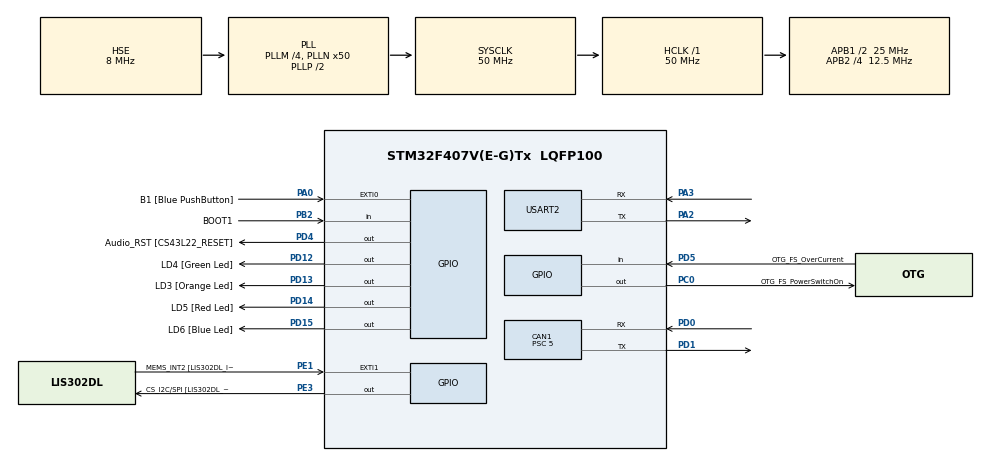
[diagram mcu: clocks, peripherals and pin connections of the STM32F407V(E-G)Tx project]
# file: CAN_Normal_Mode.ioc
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CAN1.BS1=CAN_BS1_8TQ
CAN1.CalculateBaudRate=500000
CAN1.CalculateTimeBit=2000
CAN1.CalculateTimeQuantum=200.0
CAN1.Mode=CAN_MODE_NORMAL
CAN1.Prescaler=5
Mcu.Family=STM32F4
Mcu.Name=STM32F407V(E-G)Tx
Mcu.Package=LQFP100
NVIC.CAN1_RX0_IRQn=true\:0\:0\:false\:false\:true\:true\:true\:true
NVIC.CAN1_RX1_IRQn=true\:0\:0\:false\:false\:true\:true\:true\:true
NVIC.CAN1_SCE_IRQn=true\:0\:0\:false\:false\:true\:true\:true\:true
NVIC.CAN1_TX_IRQn=true\:0\:0\:false\:false\:true\:true\:true\:true
NVIC.EXTI0_IRQn=true\:0\:0\:false\:false\:true\:true\:true\:true
NVIC.PriorityGroup=NVIC_PRIORITYGROUP_0
NVIC.TIM6_DAC_IRQn=true\:0\:0\:false\:false\:true\:true\:true\:true
PA0-WKUP.GPIO_Label=B1 [Blue PushButton]
PA0-WKUP.Signal=GPXTI0
PA10.GPIO_Label=OTG_FS_ID
PA10.GPIO_Mode=GPIO_MODE_AF_PP
PA10.GPIO_PuPd=GPIO_NOPULL
PA10.GPIO_Speed=GPIO_SPEED_FREQ_LOW
PA10.Signal=USB_OTG_FS_ID
PA11.GPIO_Label=OTG_FS_DM
PA11.GPIO_Mode=GPIO_MODE_AF_PP
PA11.GPIO_PuPd=GPIO_NOPULL
PA11.GPIO_Speed=GPIO_SPEED_FREQ_LOW
PA11.Signal=USB_OTG_FS_DM
PA12.GPIO_Label=OTG_FS_DP
PA12.GPIO_Mode=GPIO_MODE_AF_PP
PA12.GPIO_PuPd=GPIO_NOPULL
PA12.GPIO_Speed=GPIO_SPEED_FREQ_LOW
PA12.Signal=USB_OTG_FS_DP
PA13.GPIO_Label=SWDIO
PA13.Signal=SYS_JTMS-SWDIO
PA14.GPIO_Label=SWCLK
PA14.Signal=SYS_JTCK-SWCLK
PA2.Mode=Asynchronous
PA2.Signal=USART2_TX
PA3.Mode=Asynchronous
PA3.Signal=USART2_RX
PA4.GPIO_Label=I2S3_WS [CS43L22_LRCK]
PA4.GPIO_Mode=GPIO_MODE_AF_PP
PA4.GPIO_PuPd=GPIO_NOPULL
PA4.GPIO_Speed=GPIO_SPEED_FREQ_LOW
PA4.Signal=I2S3_WS
PA5.GPIO_Label=SPI1_SCK [LIS302DL_SCL/SPC]
PA5.GPIO_Mode=GPIO_MODE_AF_PP
PA5.GPIO_PuPd=GPIO_NOPULL
PA5.GPIO_Speed=GPIO_SPEED_FREQ_LOW
PA5.Signal=SPI1_SCK
PA6.GPIO_Label=SPI1_MISO [LIS302DL_SDO]
PA6.GPIO_Mode=GPIO_MODE_AF_PP
PA6.GPIO_PuPd=GPIO_NOPULL
PA6.GPIO_Speed=GPIO_SPEED_FREQ_LOW
PA6.Signal=SPI1_MISO
PA7.GPIO_Label=SPI1_MOSI [LIS302DL_SDA/SDI/SDO]
PA7.GPIO_Mode=GPIO_MODE_AF_PP
PA7.GPIO_PuPd=GPIO_NOPULL
PA7.GPIO_Speed=GPIO_SPEED_FREQ_LOW
PA7.Signal=SPI1_MOSI
PA9.GPIO_Label=VBUS_FS
PA9.GPIO_Mode=GPIO_MODE_INPUT
PA9.GPIO_PuPd=GPIO_NOPULL
PA9.Signal=USB_OTG_FS_VBUS
PB10.GPIO_Label=CLK_IN [MP45DT02_CLK]
PB10.GPIO_Mode=GPIO_MODE_AF_PP
PB10.GPIO_PuPd=GPIO_NOPULL
PB10.GPIO_Speed=GPIO_SPEED_FREQ_LOW
PB10.Signal=I2S2_CK
PB2.GPIO_Label=BOOT1
PB2.GPIO_Mode=GPIO_MODE_INPUT
PB2.GPIO_PuPd=GPIO_NOPULL
PB2.Signal=GPIO_Input
PB3.GPIO_Label=SWO
PB3.Signal=SYS_JTDO-SWO
PB6.GPIO_Label=Audio_SCL [CS43L22_SCL]
PB6.GPIO_Mode=GPIO_MODE_AF_OD
PB6.GPIO_PuPd=GPIO_NOPULL
PB6.GPIO_Speed=GPIO_SPEED_FREQ_LOW
PB6.Signal=I2C1_SCL
PB9.GPIO_Label=Audio_SDA [CS43L22_SDA]
PB9.GPIO_Mode=GPIO_MODE_AF_OD
PB9.GPIO_PuPd=GPIO_NOPULL
PB9.GPIO_Speed=GPIO_SPEED_FREQ_LOW
PB9.Signal=I2C1_SDA
PC0.GPIO_Label=OTG_FS_PowerSwitchOn
PC0.GPIO_PuPd=GPIO_NOPULL
PC0.GPIO_Speed=GPIO_SPEED_FREQ_LOW
PC0.PinState=GPIO_PIN_SET
PC0.Signal=GPIO_Output
PC10.GPIO_Label=I2S3_SCK [CS43L22_SCLK]
PC10.GPIO_Mode=GPIO_MODE_AF_PP
PC10.GPIO_PuPd=GPIO_NOPULL
PC10.GPIO_Speed=GPIO_SPEED_FREQ_LOW
PC10.Signal=I2S3_CK
PC12.GPIO_Label=I2S3_SD [CS43L22_SDIN]
PC12.GPIO_Mode=GPIO_MODE_AF_PP
PC12.GPIO_PuPd=GPIO_NOPULL
PC12.GPIO_Speed=GPIO_SPEED_FREQ_LOW
PC12.Signal=I2S3_SD
PC14-OSC32_IN.GPIO_Label=PC14-OSC32_IN
PC14-OSC32_IN.Signal=RCC_OSC32_IN
PC15-OSC32_OUT.GPIO_Label=PC15-OSC32_OUT
PC15-OSC32_OUT.Signal=RCC_OSC32_OUT
PC3.GPIO_Label=PDM_OUT [MP45DT02_DOUT]
PC3.GPIO_Mode=GPIO_MODE_AF_PP
PC3.GPIO_PuPd=GPIO_NOPULL
PC3.GPIO_Speed=GPIO_SPEED_FREQ_LOW
PC3.Signal=I2S2_SD
PC7.GPIO_Label=I2S3_MCK [CS43L22_MCLK]
PC7.GPIO_Mode=GPIO_MODE_AF_PP
PC7.GPIO_PuPd=GPIO_NOPULL
PC7.GPIO_Speed=GPIO_SPEED_FREQ_LOW
PC7.Signal=I2S3_MCK
PD0.Mode=CAN_Activate
PD0.Signal=CAN1_RX
PD1.Mode=CAN_Activate
PD1.Signal=CAN1_TX
PD12.GPIO_Label=LD4 [Green Led]
PD12.GPIO_PuPd=GPIO_NOPULL
PD12.GPIO_Speed=GPIO_SPEED_FREQ_LOW
PD12.Signal=GPIO_Output
PD13.GPIO_Label=LD3 [Orange Led]
PD13.GPIO_PuPd=GPIO_NOPULL
PD13.GPIO_Speed=GPIO_SPEED_FREQ_LOW
PD13.Signal=GPIO_Output
PD14.GPIO_Label=LD5 [Red Led]
PD14.GPIO_PuPd=GPIO_NOPULL
PD14.GPIO_Speed=GPIO_SPEED_FREQ_LOW
PD14.Signal=GPIO_Output
PD15.GPIO_Label=LD6 [Blue Led]
PD15.GPIO_PuPd=GPIO_NOPULL
PD15.GPIO_Speed=GPIO_SPEED_FREQ_LOW
PD15.Signal=GPIO_Output
PD4.GPIO_Label=Audio_RST [CS43L22_RESET]
PD4.GPIO_PuPd=GPIO_NOPULL
PD4.GPIO_Speed=GPIO_SPEED_FREQ_LOW
PD4.Signal=GPIO_Output
PD5.GPIO_Label=OTG_FS_OverCurrent
PD5.GPIO_Mode=GPIO_MODE_INPUT
PD5.GPIO_PuPd=GPIO_NOPULL
PD5.Signal=GPIO_Input
PE1.GPIO_Label=MEMS_INT2 [LIS302DL_INT2]
PE1.GPIO_ModeDefaultEXTI=GPIO_MODE_EVT_RISING
PE1.GPIO_PuPd=GPIO_NOPULL
PE1.Signal=GPXTI1
PE3.GPIO_Label=CS_I2C/SPI [LIS302DL_CS_I2C/SPI]
PE3.GPIO_PuPd=GPIO_NOPULL
PE3.GPIO_Speed=GPIO_SPEED_FREQ_LOW
PE3.Signal=GPIO_Output
PH0-OSC_IN.GPIO_Label=PH0-OSC_IN
PH0-OSC_IN.Mode=HSE-External-Oscillator
PH0-OSC_IN.Signal=RCC_OSC_IN
PH1-OSC_OUT.GPIO_Label=PH1-OSC_OUT
PH1-OSC_OUT.Mode=HSE-External-Oscillator
PH1-OSC_OUT.Signal=RCC_OSC_OUT
ProjectManager.HeapSize=0x200
ProjectManager.StackSize=0x400
ProjectManager.TargetToolchain=STM32CubeIDE
RCC.48MHZClocksFreq_Value=14285714.285714285
RCC.AHBFreq_Value=50000000
RCC.APB1CLKDivider=RCC_HCLK_DIV2
RCC.APB1Freq_Value=25000000
RCC.APB1TimFreq_Value=50000000
RCC.APB2CLKDivider=RCC_HCLK_DIV4
RCC.APB2Freq_Value=12500000
RCC.APB2TimFreq_Value=25000000
RCC.CortexFreq_Value=50000000
RCC.HCLKFreq_Value=50000000
RCC.HSE_VALUE=8000000
RCC.HSI_VALUE=16000000
RCC.LSE_VALUE=32768
RCC.PLLM=4
RCC.PLLN=50
RCC.PLLQ=7
RCC.PLLSourceVirtual=RCC_PLLSOURCE_HSE
RCC.SYSCLKFreq_VALUE=50000000
RCC.SYSCLKSource=RCC_SYSCLKSOURCE_PLLCLK
RCC.VCOOutputFreq_Value=100000000
TIM6.Period=62499
TIM6.Prescaler=799
USART2.VirtualMode=VM_ASYNC
VP_TIM6_VS_ClockSourceINT.Mode=Enable_Timer
board=STM32F407G-DISC1

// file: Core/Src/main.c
/* USER CODE BEGIN Header */
/**
 ******************************************************************************
 * @file           : main.c
 * @brief          : Main program body
 ******************************************************************************
 * @attention
 *
 * Copyright (c) 2024 STMicroelectronics.
 * All rights reserved.
 *
 * This software is licensed under terms that can be found in the LICENSE file
 * in the root directory of this software component.
 * If no LICENSE file comes with this software, it is provided AS-IS.
 *
 ******************************************************************************
 */
/* USER CODE END Header */
#include "main.h"

/* USER CODE BEGIN Includes */
#include <string.h>
#include <stdio.h>
/* USER CODE END Includes */

CAN_HandleTypeDef hcan1;

TIM_HandleTypeDef htim6;

UART_HandleTypeDef huart2;

void SystemClock_Config(void);
static void MX_GPIO_Init(void);
static void MX_CAN1_Init(void);
static void MX_TIM6_Init(void);
static void MX_USART2_UART_Init(void);
/* USER CODE BEGIN PFP */
void CAN1_Tx(void);
void CAN_Filter_Config(void);
void LED_Manage_Output(uint8_t led_no);

// Transmit Callback when transmit message is completed.
void HAL_CAN_TxMailbox0CompleteCallback(CAN_HandleTypeDef *hcan);
void HAL_CAN_TxMailbox1CompleteCallback(CAN_HandleTypeDef *hcan);
void HAL_CAN_TxMailbox2CompleteCallback(CAN_HandleTypeDef *hcan);
void HAL_CAN_RxFifo0MsgPendingCallback(CAN_HandleTypeDef *hcan);
void HAL_CAN_ErrorCallback(CAN_HandleTypeDef *hcan);

/* USER CODE END PFP */

/* USER CODE BEGIN 0 */
volatile uint8_t rx_complete_flag = 0;
uint8_t rcvd_msg[5];
CAN_RxHeaderTypeDef RxHeader;

/* USER CODE END 0 */

int main(void) {
	/* USER CODE BEGIN 1 */
	// 0. On Nucleo or Discovery board, pressing the user button will start timer 6.
	// (For the actual application, we will only press user button on Nucleo board).
	// 1. Timer 6 will trigger interrupt at every 1s.
	// 2. In this interrupt, Nucleo will send a message which contains the LED number
	// to Discovery.
	// 3. Upon receiving a message, Discovery will turn LED on based on the number.
	// E.g. number 1 for Orange, 2 for Green, etc.
	// 4. Nucleo also sends a remote frame to request 2 bytes of data for every 4 seconds.
	// 5. Disc upon receiving this remote frame, should send back 2 bytes of data using data frame.
	/* USER CODE END 1 */

	/* MCU Configuration--------------------------------------------------------*/

	/* Reset of all peripherals, Initializes the Flash interface and the Systick. */
	HAL_Init();

	/* Configure the system clock */
	SystemClock_Config();

	/* Initialize all configured peripherals */
	MX_GPIO_Init();
	MX_CAN1_Init();
	MX_TIM6_Init();
	MX_USART2_UART_Init();
	/* USER CODE BEGIN 2 */

	/**
	 * CAN Module:
	 */
	CAN_Filter_Config();
	// 1. Enable Interrupt.
	// This will enable the interrupt bit in the following registers: TMEIE, FMPIE0, BOFIE.
	if (HAL_CAN_ActivateNotification(&hcan1,
	CAN_IT_TX_MAILBOX_EMPTY | CAN_IT_RX_FIFO0_MSG_PENDING | CAN_IT_BUSOFF)
			!= HAL_OK) {
		Error_Handler();
	};

	// 2. Start the CAN module.
	if (HAL_CAN_Start(&hcan1) != HAL_OK) {
		Error_Handler();
	}

	char *uart_msg = "Discovery board starts\r\n";
	HAL_UART_Transmit(&huart2, (uint8_t*) uart_msg, strlen(uart_msg),
	HAL_MAX_DELAY);
	/* USER CODE END 2 */

	/* Infinite loop */
	/* USER CODE BEGIN WHILE */
	while (1) {
		if (rx_complete_flag == 1) {
			rx_complete_flag = 0;
			if (RxHeader.StdId == 0x65D && RxHeader.RTR == 0) {
				// Turn LED based on the message received:
				LED_Manage_Output(rcvd_msg[0]);
			}
		}
		/* USER CODE END WHILE */

	}
}

void SystemClock_Config(void) {
	RCC_OscInitTypeDef RCC_OscInitStruct = { 0 };
	RCC_ClkInitTypeDef RCC_ClkInitStruct = { 0 };

	/** Configure the main internal regulator output voltage
	 */
	__HAL_RCC_PWR_CLK_ENABLE();
	__HAL_PWR_VOLTAGESCALING_CONFIG(PWR_REGULATOR_VOLTAGE_SCALE1);

	/** Initializes the RCC Oscillators according to the specified parameters
	 * in the RCC_OscInitTypeDef structure.
	 */
	RCC_OscInitStruct.OscillatorType = RCC_OSCILLATORTYPE_HSE;
	RCC_OscInitStruct.HSEState = RCC_HSE_ON;
	RCC_OscInitStruct.PLL.PLLState = RCC_PLL_ON;
	RCC_OscInitStruct.PLL.PLLSource = RCC_PLLSOURCE_HSE;
	RCC_OscInitStruct.PLL.PLLM = 4;
	RCC_OscInitStruct.PLL.PLLN = 50;
	RCC_OscInitStruct.PLL.PLLP = RCC_PLLP_DIV2;
	RCC_OscInitStruct.PLL.PLLQ = 7;
	if (HAL_RCC_OscConfig(&RCC_OscInitStruct) != HAL_OK) {
		Error_Handler();
	}

	/** Initializes the CPU, AHB and APB buses clocks
	 */
	RCC_ClkInitStruct.ClockType = RCC_CLOCKTYPE_HCLK | RCC_CLOCKTYPE_SYSCLK
			| RCC_CLOCKTYPE_PCLK1 | RCC_CLOCKTYPE_PCLK2;
	RCC_ClkInitStruct.SYSCLKSource = RCC_SYSCLKSOURCE_PLLCLK;
	RCC_ClkInitStruct.AHBCLKDivider = RCC_SYSCLK_DIV1;
	RCC_ClkInitStruct.APB1CLKDivider = RCC_HCLK_DIV2;
	RCC_ClkInitStruct.APB2CLKDivider = RCC_HCLK_DIV4;

	if (HAL_RCC_ClockConfig(&RCC_ClkInitStruct, FLASH_LATENCY_1) != HAL_OK) {
		Error_Handler();
	}
}

static void MX_CAN1_Init(void) {

	hcan1.Instance = CAN1;
	hcan1.Init.Prescaler = 5;
	hcan1.Init.Mode = CAN_MODE_NORMAL;
	hcan1.Init.SyncJumpWidth = CAN_SJW_1TQ;
	hcan1.Init.TimeSeg1 = CAN_BS1_8TQ;
	hcan1.Init.TimeSeg2 = CAN_BS2_1TQ;
	hcan1.Init.TimeTriggeredMode = DISABLE;
	hcan1.Init.AutoBusOff = DISABLE;
	hcan1.Init.AutoWakeUp = DISABLE;
	hcan1.Init.AutoRetransmission = DISABLE;
	hcan1.Init.ReceiveFifoLocked = DISABLE;
	hcan1.Init.TransmitFifoPriority = DISABLE;
	if (HAL_CAN_Init(&hcan1) != HAL_OK) {
		Error_Handler();
	}

}

static void MX_TIM6_Init(void) {

	TIM_MasterConfigTypeDef sMasterConfig = { 0 };

	htim6.Instance = TIM6;
	htim6.Init.Prescaler = 799;
	htim6.Init.CounterMode = TIM_COUNTERMODE_UP;
	htim6.Init.Period = 62499;
	htim6.Init.AutoReloadPreload = TIM_AUTORELOAD_PRELOAD_DISABLE;
	if (HAL_TIM_Base_Init(&htim6) != HAL_OK) {
		Error_Handler();
	}
	sMasterConfig.MasterOutputTrigger = TIM_TRGO_RESET;
	sMasterConfig.MasterSlaveMode = TIM_MASTERSLAVEMODE_DISABLE;
	if (HAL_TIMEx_MasterConfigSynchronization(&htim6, &sMasterConfig)
			!= HAL_OK) {
		Error_Handler();
	}

}

static void MX_USART2_UART_Init(void) {

	huart2.Instance = USART2;
	huart2.Init.BaudRate = 115200;
	huart2.Init.WordLength = UART_WORDLENGTH_8B;
	huart2.Init.StopBits = UART_STOPBITS_1;
	huart2.Init.Parity = UART_PARITY_NONE;
	huart2.Init.Mode = UART_MODE_TX_RX;
	huart2.Init.HwFlowCtl = UART_HWCONTROL_NONE;
	huart2.Init.OverSampling = UART_OVERSAMPLING_16;
	if (HAL_UART_Init(&huart2) != HAL_OK) {
		Error_Handler();
	}

}

static void MX_GPIO_Init(void) {
	GPIO_InitTypeDef GPIO_InitStruct = { 0 };

	/* GPIO Ports Clock Enable */
	__HAL_RCC_GPIOE_CLK_ENABLE();
	__HAL_RCC_GPIOC_CLK_ENABLE();
	__HAL_RCC_GPIOH_CLK_ENABLE();
	__HAL_RCC_GPIOA_CLK_ENABLE();
	__HAL_RCC_GPIOB_CLK_ENABLE();
	__HAL_RCC_GPIOD_CLK_ENABLE();

	/*Configure GPIO pin Output Level */
	HAL_GPIO_WritePin(CS_I2C_SPI_GPIO_Port, CS_I2C_SPI_Pin, GPIO_PIN_RESET);

	/*Configure GPIO pin Output Level */
	HAL_GPIO_WritePin(OTG_FS_PowerSwitchOn_GPIO_Port, OTG_FS_PowerSwitchOn_Pin,
			GPIO_PIN_SET);

	/*Configure GPIO pin Output Level */
	HAL_GPIO_WritePin(GPIOD,
			LD4_Pin | LD3_Pin | LD5_Pin | LD6_Pin | Audio_RST_Pin,
			GPIO_PIN_RESET);

	/*Configure GPIO pin : CS_I2C_SPI_Pin */
	GPIO_InitStruct.Pin = CS_I2C_SPI_Pin;
	GPIO_InitStruct.Mode = GPIO_MODE_OUTPUT_PP;
	GPIO_InitStruct.Pull = GPIO_NOPULL;
	GPIO_InitStruct.Speed = GPIO_SPEED_FREQ_LOW;
	HAL_GPIO_Init(CS_I2C_SPI_GPIO_Port, &GPIO_InitStruct);

	/*Configure GPIO pin : OTG_FS_PowerSwitchOn_Pin */
	GPIO_InitStruct.Pin = OTG_FS_PowerSwitchOn_Pin;
	GPIO_InitStruct.Mode = GPIO_MODE_OUTPUT_PP;
	GPIO_InitStruct.Pull = GPIO_NOPULL;
	GPIO_InitStruct.Speed = GPIO_SPEED_FREQ_LOW;
	HAL_GPIO_Init(OTG_FS_PowerSwitchOn_GPIO_Port, &GPIO_InitStruct);

	/*Configure GPIO pin : PDM_OUT_Pin */
	GPIO_InitStruct.Pin = PDM_OUT_Pin;
	GPIO_InitStruct.Mode = GPIO_MODE_AF_PP;
	GPIO_InitStruct.Pull = GPIO_NOPULL;
	GPIO_InitStruct.Speed = GPIO_SPEED_FREQ_LOW;
	GPIO_InitStruct.Alternate = GPIO_AF5_SPI2;
	HAL_GPIO_Init(PDM_OUT_GPIO_Port, &GPIO_InitStruct);

	/*Configure GPIO pin : B1_Pin */
	GPIO_InitStruct.Pin = B1_Pin;
	GPIO_InitStruct.Mode = GPIO_MODE_IT_RISING;
	GPIO_InitStruct.Pull = GPIO_NOPULL;
	HAL_GPIO_Init(B1_GPIO_Port, &GPIO_InitStruct);

	/*Configure GPIO pin : I2S3_WS_Pin */
	GPIO_InitStruct.Pin = I2S3_WS_Pin;
	GPIO_InitStruct.Mode = GPIO_MODE_AF_PP;
	GPIO_InitStruct.Pull = GPIO_NOPULL;
	GPIO_InitStruct.Speed = GPIO_SPEED_FREQ_LOW;
	GPIO_InitStruct.Alternate = GPIO_AF6_SPI3;
	HAL_GPIO_Init(I2S3_WS_GPIO_Port, &GPIO_InitStruct);

	/*Configure GPIO pins : SPI1_SCK_Pin SPI1_MISO_Pin SPI1_MOSI_Pin */
	GPIO_InitStruct.Pin = SPI1_SCK_Pin | SPI1_MISO_Pin | SPI1_MOSI_Pin;
	GPIO_InitStruct.Mode = GPIO_MODE_AF_PP;
	GPIO_InitStruct.Pull = GPIO_NOPULL;
	GPIO_InitStruct.Speed = GPIO_SPEED_FREQ_LOW;
	GPIO_InitStruct.Alternate = GPIO_AF5_SPI1;
	HAL_GPIO_Init(GPIOA, &GPIO_InitStruct);

	/*Configure GPIO pin : BOOT1_Pin */
	GPIO_InitStruct.Pin = BOOT1_Pin;
	GPIO_InitStruct.Mode = GPIO_MODE_INPUT;
	GPIO_InitStruct.Pull = GPIO_NOPULL;
	HAL_GPIO_Init(BOOT1_GPIO_Port, &GPIO_InitStruct);

	/*Configure GPIO pin : CLK_IN_Pin */
	GPIO_InitStruct.Pin = CLK_IN_Pin;
	GPIO_InitStruct.Mode = GPIO_MODE_AF_PP;
	GPIO_InitStruct.Pull = GPIO_NOPULL;
	GPIO_InitStruct.Speed = GPIO_SPEED_FREQ_LOW;
	GPIO_InitStruct.Alternate = GPIO_AF5_SPI2;
	HAL_GPIO_Init(CLK_IN_GPIO_Port, &GPIO_InitStruct);

	/*Configure GPIO pins : LD4_Pin LD3_Pin LD5_Pin LD6_Pin
	 Audio_RST_Pin */
	GPIO_InitStruct.Pin = LD4_Pin | LD3_Pin | LD5_Pin | LD6_Pin | Audio_RST_Pin;
	GPIO_InitStruct.Mode = GPIO_MODE_OUTPUT_PP;
	GPIO_InitStruct.Pull = GPIO_NOPULL;
	GPIO_InitStruct.Speed = GPIO_SPEED_FREQ_LOW;
	HAL_GPIO_Init(GPIOD, &GPIO_InitStruct);

	/*Configure GPIO pins : I2S3_MCK_Pin I2S3_SCK_Pin I2S3_SD_Pin */
	GPIO_InitStruct.Pin = I2S3_MCK_Pin | I2S3_SCK_Pin | I2S3_SD_Pin;
	GPIO_InitStruct.Mode = GPIO_MODE_AF_PP;
	GPIO_InitStruct.Pull = GPIO_NOPULL;
	GPIO_InitStruct.Speed = GPIO_SPEED_FREQ_LOW;
	GPIO_InitStruct.Alternate = GPIO_AF6_SPI3;
	HAL_GPIO_Init(GPIOC, &GPIO_InitStruct);

	/*Configure GPIO pin : VBUS_FS_Pin */
	GPIO_InitStruct.Pin = VBUS_FS_Pin;
	GPIO_InitStruct.Mode = GPIO_MODE_INPUT;
	GPIO_InitStruct.Pull = GPIO_NOPULL;
	HAL_GPIO_Init(VBUS_FS_GPIO_Port, &GPIO_InitStruct);

	/*Configure GPIO pins : OTG_FS_ID_Pin OTG_FS_DM_Pin OTG_FS_DP_Pin */
	GPIO_InitStruct.Pin = OTG_FS_ID_Pin | OTG_FS_DM_Pin | OTG_FS_DP_Pin;
	GPIO_InitStruct.Mode = GPIO_MODE_AF_PP;
	GPIO_InitStruct.Pull = GPIO_NOPULL;
	GPIO_InitStruct.Speed = GPIO_SPEED_FREQ_LOW;
	GPIO_InitStruct.Alternate = GPIO_AF10_OTG_FS;
	HAL_GPIO_Init(GPIOA, &GPIO_InitStruct);

	/*Configure GPIO pin : OTG_FS_OverCurrent_Pin */
	GPIO_InitStruct.Pin = OTG_FS_OverCurrent_Pin;
	GPIO_InitStruct.Mode = GPIO_MODE_INPUT;
	GPIO_InitStruct.Pull = GPIO_NOPULL;
	HAL_GPIO_Init(OTG_FS_OverCurrent_GPIO_Port, &GPIO_InitStruct);

	/*Configure GPIO pins : Audio_SCL_Pin Audio_SDA_Pin */
	GPIO_InitStruct.Pin = Audio_SCL_Pin | Audio_SDA_Pin;
	GPIO_InitStruct.Mode = GPIO_MODE_AF_OD;
	GPIO_InitStruct.Pull = GPIO_NOPULL;
	GPIO_InitStruct.Speed = GPIO_SPEED_FREQ_LOW;
	GPIO_InitStruct.Alternate = GPIO_AF4_I2C1;
	HAL_GPIO_Init(GPIOB, &GPIO_InitStruct);

	/*Configure GPIO pin : MEMS_INT2_Pin */
	GPIO_InitStruct.Pin = MEMS_INT2_Pin;
	GPIO_InitStruct.Mode = GPIO_MODE_EVT_RISING;
	GPIO_InitStruct.Pull = GPIO_NOPULL;
	HAL_GPIO_Init(MEMS_INT2_GPIO_Port, &GPIO_InitStruct);

	/* EXTI interrupt init*/
	HAL_NVIC_SetPriority(EXTI0_IRQn, 0, 0);
	HAL_NVIC_EnableIRQ(EXTI0_IRQn);

}

/* USER CODE BEGIN 4 */
void CAN_Filter_Config(void) {
	/**
	 * Filter which message we want to receive.
	 * We will set to accept all.
	 * That's why the ID and Mask filter are all set to 0.
	 * We will use IDMASK, which just means ID mode.
	 */
	CAN_FilterTypeDef can1_filter_init;

	can1_filter_init.FilterActivation = ENABLE;
	can1_filter_init.FilterBank = 0;
	can1_filter_init.FilterFIFOAssignment = CAN_RX_FIFO0;
	can1_filter_init.FilterIdHigh = 0x0000;
	can1_filter_init.FilterIdLow = 0x0000;
	can1_filter_init.FilterMaskIdHigh = 0x0000;
	can1_filter_init.FilterMaskIdLow = 0x0000;
	can1_filter_init.FilterMode = CAN_FILTERMODE_IDMASK;
	can1_filter_init.FilterScale = CAN_FILTERSCALE_32BIT;

	if (HAL_CAN_ConfigFilter(&hcan1, &can1_filter_init) != HAL_OK) {
		Error_Handler();
	}

}

uint8_t led_no = 0;
void CAN1_Tx(void) {

	// Define mailbox.
	uint32_t txMailbox;

	// Define header.
	CAN_TxHeaderTypeDef txHeader;
	txHeader.DLC = 1; // Data length count
	txHeader.StdId = 0x65D; // Arbitrary number
	txHeader.IDE = CAN_ID_STD; // Standard or External frame
	txHeader.RTR = CAN_RTR_DATA; // Type of frame: Data or request/remote

	uint8_t message = ++led_no;
	if (led_no == 3) {
		led_no = 0;
	}

	// In this function, the mailbox will be updated.
	// 1. Trigger transmission here.
	if (HAL_CAN_AddTxMessage(&hcan1, &txHeader, &message, &txMailbox)
			!= HAL_OK) {
		char *error_msg = "Error while triggering transmit\r\n";
		HAL_UART_Transmit(&huart2, (uint8_t*) error_msg, strlen(error_msg),
		HAL_MAX_DELAY);
		Error_Handler();
	}

	// 2. We don't need to check if Message is not pending anymore.
	// Since we are just using interrupt.
}

/**
 * Tx Callback:
 * We don't know which mailbox will trigger the callback.
 * So we implement callback from all inbox.
 */
void HAL_CAN_TxMailbox0CompleteCallback(CAN_HandleTypeDef *hcan) {
	// 3. Bus is idle here, compete in arbitration. If arbitration wins,
	// transmit will succeed then the mailbox weill be empty again.
	char *msg = "Message transmitted Mailbox0\r\n";
	HAL_UART_Transmit(&huart2, (uint8_t*) msg, strlen(msg), HAL_MAX_DELAY);
}

void HAL_CAN_TxMailbox1CompleteCallback(CAN_HandleTypeDef *hcan) {

	char *msg = "Message transmitted Mailbox1 \r\n";
	HAL_UART_Transmit(&huart2, (uint8_t*) msg, strlen(msg), HAL_MAX_DELAY);

}

void HAL_CAN_TxMailbox2CompleteCallback(CAN_HandleTypeDef *hcan) {
	char *msg = "Message transmitted from Mailbox2 \r\n";
	HAL_UART_Transmit(&huart2, (uint8_t*) msg, strlen(msg), HAL_MAX_DELAY);

}

/**
 * Rx Callback:
 * when message received in Fifo0.
 */
void HAL_CAN_RxFifo0MsgPendingCallback(CAN_HandleTypeDef *hcan) {
	// We don't need to wait for message, we know we just received them.

	// Case1: Receive a command message from nucleo in CAN Rx pin.
	if (HAL_CAN_GetRxMessage(&hcan1, CAN_RX_FIFO0, &RxHeader, rcvd_msg)
			== HAL_OK) {
		rx_complete_flag = 1;

		// Case2: Receive a remote frame.
	} else if (RxHeader.StdId == 0x651 && RxHeader.RTR == 1) {
		// Send message to Nucleo.
//		Send_response(RxHeader.StdId);
		return;

	} else {
		Error_Handler();
	}

}

/**
 * Timer Callback:
 */
void HAL_TIM_PeriodElapsedCallback(TIM_HandleTypeDef *htim) {
	if (htim == &htim6) {
		HAL_GPIO_TogglePin(LD6_GPIO_Port, LD6_Pin);

		// - Send once.
		CAN1_Tx();
	}
}

/**
 * External interrupt Callback:
 * Button.
 */
void HAL_GPIO_EXTI_Callback(uint16_t GPIO_Pin) {

	if (GPIO_Pin == GPIO_PIN_0) // Check if the interrupt comes from the button pin
	{
		// If button is pressed, timer 6 will start which means
		// We will start Tx message from Discovery board.
		HAL_TIM_Base_Start_IT(&htim6);
	}
}

void LED_Manage_Output(uint8_t led_no) {
	switch (led_no) {
	case 1:
		// LD3 Orange on
		HAL_GPIO_WritePin(LD3_GPIO_Port, LD3_Pin, GPIO_PIN_SET);
		HAL_GPIO_WritePin(LD4_GPIO_Port, LD4_Pin, GPIO_PIN_RESET);
		HAL_GPIO_WritePin(LD5_GPIO_Port, LD5_Pin, GPIO_PIN_RESET);

		break;
	case 2:
		// LD4 Green on
		HAL_GPIO_WritePin(LD3_GPIO_Port, LD3_Pin, GPIO_PIN_RESET);
		HAL_GPIO_WritePin(LD4_GPIO_Port, LD4_Pin, GPIO_PIN_SET);
		HAL_GPIO_WritePin(LD5_GPIO_Port, LD5_Pin, GPIO_PIN_RESET);
		break;
	case 3:
		// LD5 Red on
		HAL_GPIO_WritePin(LD3_GPIO_Port, LD3_Pin, GPIO_PIN_RESET);
		HAL_GPIO_WritePin(LD4_GPIO_Port, LD4_Pin, GPIO_PIN_RESET);
		HAL_GPIO_WritePin(LD5_GPIO_Port, LD5_Pin, GPIO_PIN_SET);
		break;
	}
}
/* USER CODE END 4 */

void Error_Handler(void) {
	__disable_irq();
	while (1) {
	}
}
